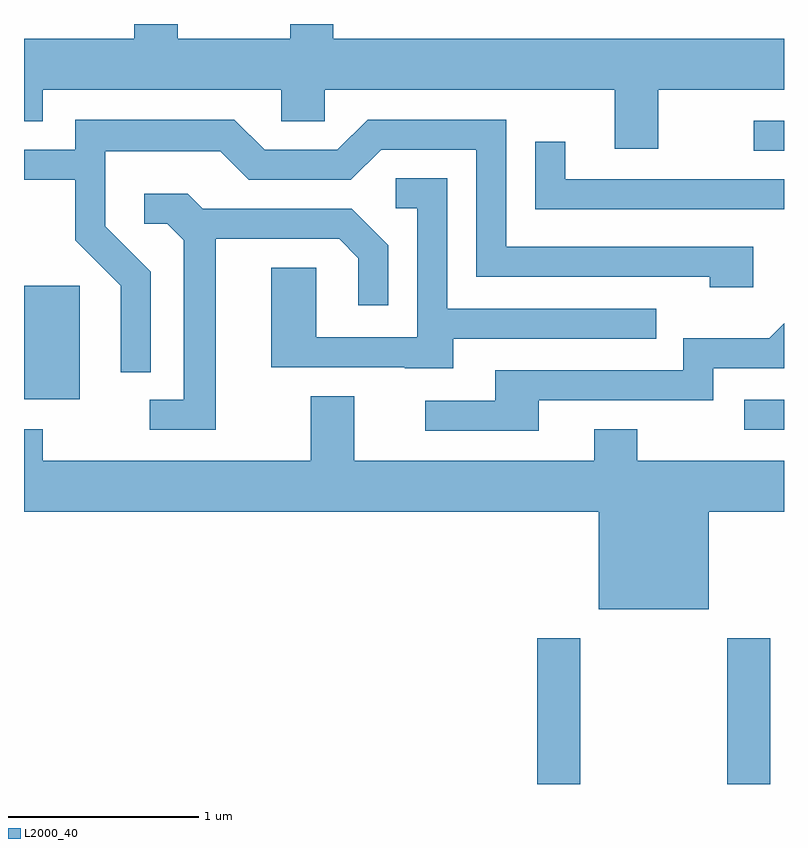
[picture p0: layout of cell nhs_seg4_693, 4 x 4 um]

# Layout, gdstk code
import gdstk
lib = gdstk.Library(unit=1e-6, precision=1e-09)
def R(c, l, rs):  # rectangles x0, y0, x1, y1
    for r in rs: c.add(gdstk.rectangle(r[:2], r[2:], *l))
def P(c, l, *ps):  # polygons
    for p in ps: c.add(gdstk.Polygon(p, *l))
L2000_40 = (2000, 40)

nhs_seg4_693 = lib.new_cell('nhs_seg4_693')
R(nhs_seg4_693, L2000_40, [(208.311,1279.982,208.539,1280.749), (209.311,1279.982,209.539,1280.749), (209.403,1281.846,209.611,1282.004), (205.611,1282.006,205.904,1282.604), (209.453,1283.316,209.611,1283.474)])
P(nhs_seg4_693, L2000_40, [(208.949,1283.636),(209.611,1283.636),(209.611,1283.904),(207.239,1283.904),(207.239,1283.982),(207.011,1283.982),(207.011,1283.904),(206.419,1283.904),(206.419,1283.982),(206.191,1283.982),(206.191,1283.904),(205.611,1283.904),(205.611,1283.471),(205.709,1283.471),(205.709,1283.636),(206.966,1283.636),(206.966,1283.471),(207.194,1283.471),(207.194,1283.636),(208.721,1283.636),(208.721,1283.326),(208.949,1283.326)],
  [(206.279,1282.677),(206.039,1282.917),(206.039,1283.311),(206.644,1283.311),(206.794,1283.161),(207.332,1283.161),(207.492,1283.321),(207.991,1283.321),(207.991,1282.651),(209.221,1282.651),(209.221,1282.596),(209.449,1282.596),(209.449,1282.809),(208.149,1282.809),(208.149,1283.479),(207.419,1283.479),(207.259,1283.319),(206.877,1283.319),(206.717,1283.479),(205.881,1283.479),(205.881,1283.319),(205.611,1283.319),(205.611,1283.161),(205.881,1283.161),(205.881,1282.844),(206.121,1282.604),(206.121,1282.148),(206.279,1282.148)],
  [(209.611,1283.164),(208.459,1283.164),(208.459,1283.363),(208.301,1283.363),(208.301,1283.006),(209.611,1283.006)],
  [(207.869,1282.326),(208.938,1282.326),(208.938,1282.484),(207.839,1282.484),(207.839,1283.169),(207.568,1283.169),(207.568,1283.011),(207.681,1283.011),(207.681,1282.334),(207.149,1282.334),(207.149,1282.699),(206.911,1282.699),(206.911,1282.176),(207.615,1282.176),(207.615,1282.171),(207.869,1282.171)],
  [(206.619,1282.851),(207.269,1282.851),(207.371,1282.749),(207.371,1282.503),(207.529,1282.503),(207.529,1282.817),(207.337,1283.009),(206.552,1283.009),(206.472,1283.089),(206.243,1283.089),(206.243,1282.931),(206.364,1282.931),(206.451,1282.844),(206.451,1282.004),(206.273,1282.004),(206.273,1281.846),(206.619,1281.846)],
  [(208.319,1282.001),(209.239,1282.001),(209.239,1282.171),(209.611,1282.171),(209.611,1282.407),(209.534,1282.329),(209.081,1282.329),(209.081,1282.159),(208.091,1282.159),(208.091,1281.999),(207.723,1281.999),(207.723,1281.841),(208.319,1281.841)],
  [(209.214,1281.416),(209.611,1281.416),(209.611,1281.684),(208.839,1281.684),(208.839,1281.849),(208.611,1281.849),(208.611,1281.684),(207.349,1281.684),(207.349,1282.024),(207.121,1282.024),(207.121,1281.684),(205.709,1281.684),(205.709,1281.849),(205.611,1281.849),(205.611,1281.416),(208.636,1281.416),(208.636,1280.901),(209.214,1280.901)])

lib.write_gds('nhs_seg4_693.gds')
